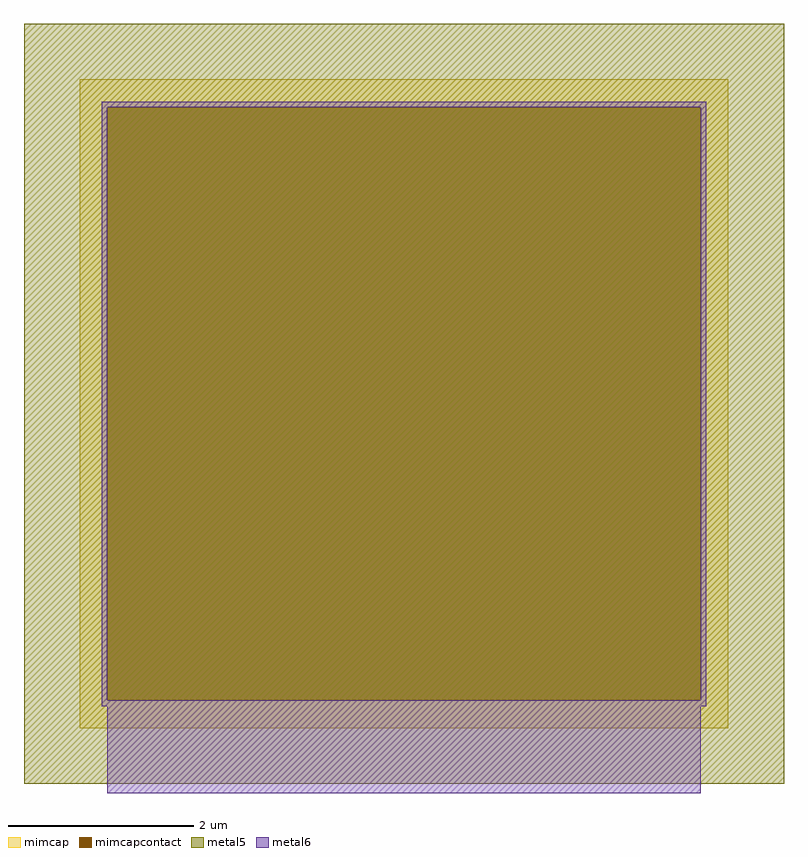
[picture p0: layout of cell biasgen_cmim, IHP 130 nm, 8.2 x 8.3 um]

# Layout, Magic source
magic
tech ihp-sg13g2
<< metal5 >>
rect 53 74 873 894
<< mimcap >>
rect 113 804 813 834
rect 113 164 143 804
rect 783 164 813 804
rect 113 134 813 164
<< mimcapcontact >>
rect 143 164 783 804
<< metal6 >>
rect 137 804 789 810
rect 137 164 143 804
rect 783 164 789 804
rect 137 158 789 164
rect 143 64 783 158
<< end >>
